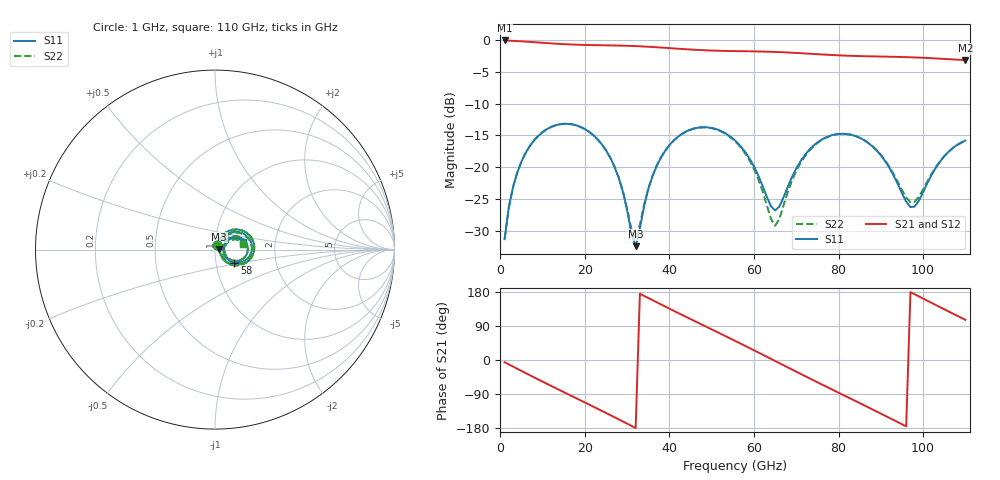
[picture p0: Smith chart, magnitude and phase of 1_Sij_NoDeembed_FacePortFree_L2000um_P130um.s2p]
! Touchstone file exported from HFSS 2024.2.0
!  File:  C:/Users/vaintrug/Documents/Ansoft_Workspace/Comparaison_Calculs_HFSS/1_VarPort.aedt
!  Generated:  03:22:18 PM Jan 21, 2025
!  Design:  1_NoDeembed_FacePortFree
!  Project:  1_VarPort
!  Setup:  Setup1
!  Solution:  Sweep
! Variables:
!  $Lenght = 2000um
!  $PortSize = 130um
!  Gap = 30um
!  Th = 2um
!  X_centralStrip = 20um
!  X_masse = 200um
!  Y_Sub = 2mm
!  Z_Box = 400um
!  Z_Sub = 200um
# GHz S MA R 50.000000
! Terminal data exported
! Port[1] = 1
! Port[2] = 2
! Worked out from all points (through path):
!   110 points, 1 GHz to 110 GHz, reference 50 ohm
!   highest |S21| = -0.13 dB at 1 GHz (marker M1); lowest = -3.2 dB at 110 GHz (marker M2)
!   group delay of S21, straight-line fit = 15.5 ps
!   lowest |S11| = -32.3 dB at 32 GHz (marker M3), VSWR 1.05, Z = 52.5 + j0.366 ohm
!   |S11| at or under -10 dB: start of sweep to end of sweep
!   |S22| runs from -31.3 to -13.2 dB; largest |S21 - S12| = 2.6e-15
!   S11 on the Smith chart (normalised r, x): 1 GHz: 1.03, +0.05; 58 GHz: 1.23, -0.18; 110 GHz: 1.36, +0.12
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1  0.02743 60.9  0.9854 -5.9  0.9854 -5.9  0.02743 60.9
! Gamma 5.78778736013023 49.9861643487315 5.74521444504365 49.8747423962881
! Port Impedance 50 0 50 0
3  0.07029 65.6  0.9783 -17.4  0.9783 -17.4  0.07028 65.6
7  0.1476 48.7  0.9601 -40.3  0.9601 -40.3  0.1476 48.6
13  0.2135 17.9  0.9301 -73.8  0.9301 -73.8  0.2134 17.8
20  0.1994 -17.2  0.909 -112.2  0.909 -112.2  0.1994 -17.3
27  0.1012 -47.0  0.9 -151.1  0.9 -151.1  0.1016 -46.4
32  0.02419 8.3  0.8898 -179.4  0.8898 -179.4  0.02717 6.8
35  0.06751 55.9  0.8797 163.5  0.8797 163.5  0.06862 52.3
38  0.1197 49.6  0.8672 146.6  0.8672 146.6  0.1201 46.8
43  0.1834 28.6  0.8448 118.9  0.8448 118.9  0.1831 26.0
47  0.2054 10.5  0.8298 97.0  0.8298 97.0  0.2046 7.7
51  0.1997 -7.4  0.8197 75.3  0.8197 75.3  0.1984 -10.6
56  0.1568 -27.5  0.813 47.9  0.813 47.9  0.1543 -31.9
58  0.1307 -33.8  0.8111 36.8  0.8111 36.8  0.1274 -39.1
65  0.04601 0.2  0.8011 -2.6  0.8011 -2.6  0.03498 -0.3
70  0.0982 37.7  0.7869 -30.9  0.7869 -30.9  0.09421 42.6
74  0.1474 28.3  0.7728 -53.2  0.7728 -53.2  0.1453 31.0
83  0.18 -6.9  0.7468 -102.8  0.7468 -102.8  0.1797 -5.8
92  0.09956 -34.5  0.7351 -152.6  0.7351 -152.6  0.1013 -33.1
98  0.04928 8.9  0.7256 173.4  0.7256 173.4  0.05377 6.2
104  0.1111 33.7  0.7096 139.5  0.7096 139.5  0.1119 29.4
110  0.1622 15.7  0.6915 106.0  0.6915 106.0  0.161 11.5
